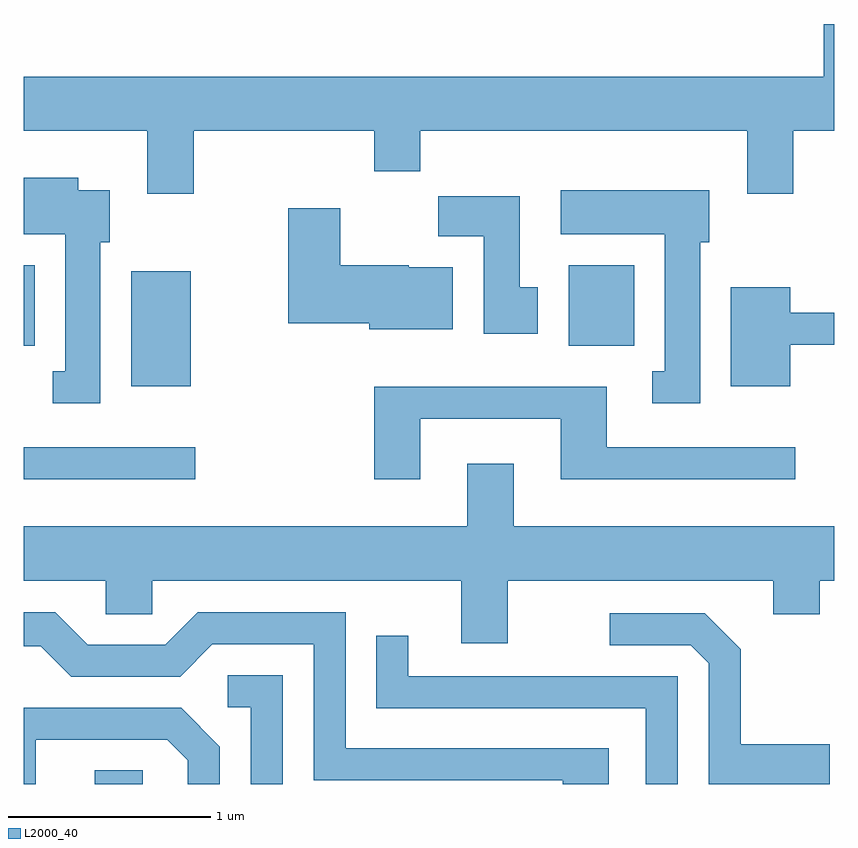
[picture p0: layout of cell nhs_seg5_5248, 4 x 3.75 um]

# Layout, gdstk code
import gdstk
lib = gdstk.Library(unit=1e-6, precision=1e-09)
def R(c, l, rs):  # rectangles x0, y0, x1, y1
    for r in rs: c.add(gdstk.rectangle(r[:2], r[2:], *l))
def P(c, l, *ps):  # polygons
    for p in ps: c.add(gdstk.Polygon(p, *l))
L2000_40 = (2000, 40)

nhs_seg5_5248 = lib.new_cell('nhs_seg5_5248')
R(nhs_seg5_5248, L2000_40, [(341.961,1398.072,342.199,1398.139), (341.611,1399.576,342.458,1399.734), (342.141,1400.036,342.434,1400.604), (341.611,1400.236,341.664,1400.634), (344.301,1400.236,344.624,1400.634)])
P(nhs_seg5_5248, L2000_40, [(342.449,1401.296),(343.341,1401.296),(343.341,1401.096),(343.569,1401.096),(343.569,1401.296),(345.181,1401.296),(345.181,1400.986),(345.409,1400.986),(345.409,1401.296),(345.611,1401.296),(345.611,1401.824),(345.561,1401.824),(345.561,1401.564),(341.611,1401.564),(341.611,1401.296),(342.221,1401.296),(342.221,1400.986),(342.449,1400.986)],
  [(341.989,1400.746),(342.034,1400.746),(342.034,1401.004),(341.879,1401.004),(341.879,1401.064),(341.611,1401.064),(341.611,1400.786),(341.816,1400.786),(341.816,1400.109),(341.753,1400.109),(341.753,1399.951),(341.989,1399.951)],
  [(344.949,1400.746),(344.994,1400.746),(344.994,1401.004),(344.261,1401.004),(344.261,1400.786),(344.776,1400.786),(344.776,1400.109),(344.713,1400.109),(344.713,1399.951),(344.949,1399.951)],
  [(344.149,1400.524),(344.059,1400.524),(344.059,1400.974),(343.656,1400.974),(343.656,1400.776),(343.881,1400.776),(343.881,1400.296),(344.149,1400.296)],
  [(343.729,1400.624),(343.51,1400.624),(343.51,1400.634),(343.174,1400.634),(343.174,1400.914),(342.916,1400.914),(342.916,1400.346),(343.316,1400.346),(343.316,1400.316),(343.729,1400.316)],
  [(345.394,1400.241),(345.611,1400.241),(345.611,1400.399),(345.394,1400.399),(345.394,1400.524),(345.101,1400.524),(345.101,1400.036),(345.394,1400.036)],
  [(343.569,1399.876),(344.261,1399.876),(344.261,1399.576),(345.418,1399.576),(345.418,1399.734),(344.489,1399.734),(344.489,1400.034),(343.341,1400.034),(343.341,1399.576),(343.569,1399.576)],
  [(343.999,1399.076),(345.311,1399.076),(345.311,1398.911),(345.539,1398.911),(345.539,1399.076),(345.611,1399.076),(345.611,1399.344),(344.029,1399.344),(344.029,1399.654),(343.801,1399.654),(343.801,1399.344),(341.611,1399.344),(341.611,1399.076),(342.016,1399.076),(342.016,1398.911),(342.244,1398.911),(342.244,1399.076),(343.771,1399.076),(343.771,1398.766),(343.999,1398.766)],
  [(344.499,1398.249),(343.199,1398.249),(343.199,1398.919),(342.469,1398.919),(342.309,1398.759),(341.927,1398.759),(341.767,1398.919),(341.611,1398.919),(341.611,1398.751),(341.694,1398.751),(341.844,1398.601),(342.382,1398.601),(342.542,1398.761),(343.041,1398.761),(343.041,1398.091),(344.271,1398.091),(344.271,1398.072),(344.499,1398.072)],
  [(345.589,1398.269),(345.149,1398.269),(345.149,1398.737),(344.972,1398.914),(344.503,1398.914),(344.503,1398.756),(344.904,1398.756),(344.991,1398.669),(344.991,1398.072),(345.589,1398.072)],
  [(344.839,1398.604),(343.509,1398.604),(343.509,1398.803),(343.351,1398.803),(343.351,1398.446),(344.681,1398.446),(344.681,1398.072),(344.839,1398.072)],
  [(342.889,1398.609),(342.618,1398.609),(342.618,1398.451),(342.731,1398.451),(342.731,1398.072),(342.889,1398.072)],
  [(341.669,1398.291),(342.319,1398.291),(342.421,1398.189),(342.421,1398.072),(342.579,1398.072),(342.579,1398.257),(342.387,1398.449),(341.611,1398.449),(341.611,1398.072),(341.669,1398.072)])

lib.write_gds('nhs_seg5_5248.gds')
